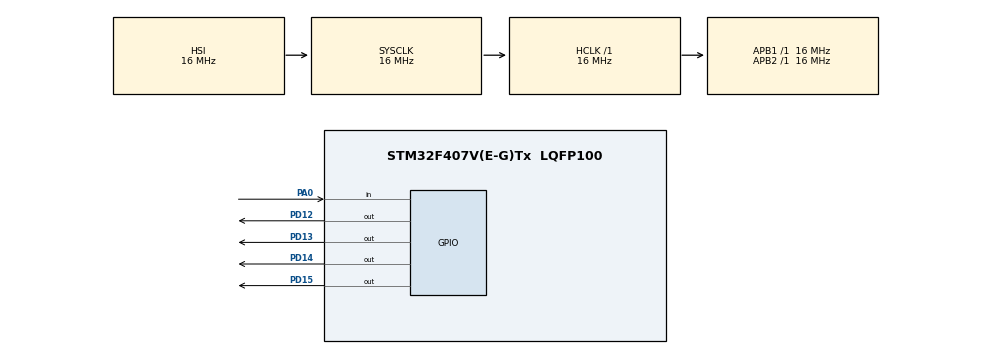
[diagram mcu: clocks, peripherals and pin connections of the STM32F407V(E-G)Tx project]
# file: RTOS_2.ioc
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Mcu.Family=STM32F4
Mcu.Name=STM32F407V(E-G)Tx
Mcu.Package=LQFP100
NVIC.PriorityGroup=NVIC_PRIORITYGROUP_4
NVIC.TIM1_UP_TIM10_IRQn=true\:15\:0\:false\:false\:true\:false\:true\:true
NVIC.TimeBase=TIM1_UP_TIM10_IRQn
NVIC.TimeBaseIP=TIM1
PA0-WKUP.Signal=GPIO_Input
PD12.Signal=GPIO_Output
PD13.Signal=GPIO_Output
PD14.Signal=GPIO_Output
PD15.Signal=GPIO_Output
ProjectManager.HeapSize=0x200
ProjectManager.StackSize=0x400
ProjectManager.TargetToolchain=STM32CubeIDE
RCC.AHBFreq_Value=16000000
RCC.APB1Freq_Value=16000000
RCC.APB2Freq_Value=16000000
RCC.CortexFreq_Value=16000000
RCC.HSE_VALUE=25000000
RCC.HSI_VALUE=16000000
RCC.LSE_VALUE=32768
RCC.SYSCLKFreq_VALUE=16000000
RCC.VCOOutputFreq_Value=192000000
VP_SYS_VS_tim1.Mode=TIM1
board=custom

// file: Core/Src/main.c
/* USER CODE BEGIN Header */
/**
  ******************************************************************************
  * @file           : main.c
  * @brief          : Main program body
  ******************************************************************************
  * @attention
  *
  * Copyright (c) 2026 STMicroelectronics.
  * All rights reserved.
  *
  * This software is licensed under terms that can be found in the LICENSE file
  * in the root directory of this software component.
  * If no LICENSE file comes with this software, it is provided AS-IS.
  *
  ******************************************************************************
  */
/* USER CODE END Header */
#include "main.h"

/* USER CODE BEGIN Includes */
#include "FreeRTOS.h"
#include "task.h"
#include "timers.h"
#include "queue.h"
#include "semphr.h"
#include "event_groups.h"
#include "SEGGER_SYSVIEW.h"
#include "Disc_F407.h"
/* USER CODE END Includes */

void SystemClock_Config(void);
static void MX_GPIO_Init(void);

/* USER CODE BEGIN 0 */
#define STACK_SIZE 128

void GreenTaskA( void * argument);
void BlueTaskB( void* argumet );

volatile uint32_t flag = 0;
/* USER CODE END 0 */

int main(void)
{

  /* MCU Configuration--------------------------------------------------------*/

  /* Reset of all peripherals, Initializes the Flash interface and the Systick. */
  HAL_Init();

  /* Configure the system clock */
  SystemClock_Config();

  /* Initialize all configured peripherals */
  MX_GPIO_Init();
  /* USER CODE BEGIN 2 */
  SEGGER_SYSVIEW_Conf();
  	HAL_NVIC_SetPriorityGrouping(NVIC_PRIORITYGROUP_4);	//ensure proper priority grouping for freeRTOS

  	//create TaskA as a higher priority than TaskB.  In this example, this isn't strictly necessary since the tasks
  	//spend nearly all of their time blocked
  	assert_param(xTaskCreate(GreenTaskA, "GreenTaskA", STACK_SIZE, NULL, tskIDLE_PRIORITY + 2, NULL) == pdPASS);

  	//using an assert to ensure proper task creation
  	assert_param(xTaskCreate(BlueTaskB, "BlueTaskB", STACK_SIZE, NULL, tskIDLE_PRIORITY + 1, NULL) == pdPASS);

  	//start the scheduler - shouldn't return unless there's a problem
  	vTaskStartScheduler();

  	//if you've wound up here, there is likely an issue with overrunning the freeRTOS heap
  /* USER CODE END 2 */

  /* Infinite loop */
  while (1)
  {

  }
}

void SystemClock_Config(void)
{
  RCC_OscInitTypeDef RCC_OscInitStruct = {0};
  RCC_ClkInitTypeDef RCC_ClkInitStruct = {0};

  /** Configure the main internal regulator output voltage
  */
  __HAL_RCC_PWR_CLK_ENABLE();
  __HAL_PWR_VOLTAGESCALING_CONFIG(PWR_REGULATOR_VOLTAGE_SCALE1);

  /** Initializes the RCC Oscillators according to the specified parameters
  * in the RCC_OscInitTypeDef structure.
  */
  RCC_OscInitStruct.OscillatorType = RCC_OSCILLATORTYPE_HSI;
  RCC_OscInitStruct.HSIState = RCC_HSI_ON;
  RCC_OscInitStruct.HSICalibrationValue = RCC_HSICALIBRATION_DEFAULT;
  RCC_OscInitStruct.PLL.PLLState = RCC_PLL_NONE;
  if (HAL_RCC_OscConfig(&RCC_OscInitStruct) != HAL_OK)
  {
    Error_Handler();
  }

  /** Initializes the CPU, AHB and APB buses clocks
  */
  RCC_ClkInitStruct.ClockType = RCC_CLOCKTYPE_HCLK|RCC_CLOCKTYPE_SYSCLK
                              |RCC_CLOCKTYPE_PCLK1|RCC_CLOCKTYPE_PCLK2;
  RCC_ClkInitStruct.SYSCLKSource = RCC_SYSCLKSOURCE_HSI;
  RCC_ClkInitStruct.AHBCLKDivider = RCC_SYSCLK_DIV1;
  RCC_ClkInitStruct.APB1CLKDivider = RCC_HCLK_DIV1;
  RCC_ClkInitStruct.APB2CLKDivider = RCC_HCLK_DIV1;

  if (HAL_RCC_ClockConfig(&RCC_ClkInitStruct, FLASH_LATENCY_0) != HAL_OK)
  {
    Error_Handler();
  }
}

static void MX_GPIO_Init(void)
{
  GPIO_InitTypeDef GPIO_InitStruct = {0};

  /* GPIO Ports Clock Enable */
  __HAL_RCC_GPIOA_CLK_ENABLE();
  __HAL_RCC_GPIOD_CLK_ENABLE();

  /*Configure GPIO pin Output Level */
  HAL_GPIO_WritePin(GPIOD, GPIO_PIN_12|GPIO_PIN_13|GPIO_PIN_14|GPIO_PIN_15, GPIO_PIN_RESET);

  /*Configure GPIO pin : PA0 */
  GPIO_InitStruct.Pin = GPIO_PIN_0;
  GPIO_InitStruct.Mode = GPIO_MODE_INPUT;
  GPIO_InitStruct.Pull = GPIO_NOPULL;
  HAL_GPIO_Init(GPIOA, &GPIO_InitStruct);

  /*Configure GPIO pins : PD12 PD13 PD14 PD15 */
  GPIO_InitStruct.Pin = GPIO_PIN_12|GPIO_PIN_13|GPIO_PIN_14|GPIO_PIN_15;
  GPIO_InitStruct.Mode = GPIO_MODE_OUTPUT_PP;
  GPIO_InitStruct.Pull = GPIO_NOPULL;
  GPIO_InitStruct.Speed = GPIO_SPEED_FREQ_LOW;
  HAL_GPIO_Init(GPIOD, &GPIO_InitStruct);

}

/* USER CODE BEGIN 4 */
/**
 * Task A periodically sets 'flag' to 1, which signals taskB  to run
 *
 */
void GreenTaskA( void* argument )
{
	uint_fast8_t count = 0;
	while(1)
	{
		//every 5 times through the loop, set the flag
		if(++count >= 5)
		{
			count = 0;
			SEGGER_SYSVIEW_PrintfHost("Task A (green LED) sets flag");
			flag = 1;	//set 'flag' to 1 to "signal" BlueTaskB to run
		}
		GreenLed.On();
		vTaskDelay(100/portTICK_PERIOD_MS);
		GreenLed.Off();
		vTaskDelay(100/portTICK_PERIOD_MS);
	}
}

/**
 * wait until flag != 0 then triple blink the Blue LED
 */
void BlueTaskB( void* argument )
{
	while(1)
	{
	    SEGGER_SYSVIEW_PrintfHost("Task B (Blue LED) starts "\
	    		                   "polling on flag");

		//repeateadly poll on flag.  As soon as it is non-zero,
		//blink the blue LED 3 times
	    while(!flag){};

		SEGGER_SYSVIEW_PrintfHost("Task B (Blue LED) received flag");
		flag = 0;
		//triple blink the Blue LED
		for(uint_fast8_t i = 0; i < 3; i++)
		{
			BlueLed.On();
			vTaskDelay(50/portTICK_PERIOD_MS);
			BlueLed.Off();
			vTaskDelay(50/portTICK_PERIOD_MS);
		}
	}
}

/* USER CODE END 4 */

void HAL_TIM_PeriodElapsedCallback(TIM_HandleTypeDef *htim)
{
  if (htim->Instance == TIM1)
  {
    HAL_IncTick();
  }
}

void Error_Handler(void)
{
  __disable_irq();
  while (1)
  {
  }
}

#ifdef  USE_FULL_ASSERT
/**
  * @brief  Reports the name of the source file and the source line number
  *         where the assert_param error has occurred.
  * @param  file: pointer to the source file name
  * @param  line: assert_param error line source number
  * @retval None
  */
void assert_failed(uint8_t *file, uint32_t line)
{
  /* USER CODE BEGIN 6 */
	SEGGER_SYSVIEW_PrintfHost("Assertion Failed:file %s on line %d\r\n", file, line);
	  while(1);
  /* User can add his own implementation to report the file name and line number,
     ex: printf("Wrong parameters value: file %s on line %d\r\n", file, line) */
  /* USER CODE END 6 */
}
#endif /* USE_FULL_ASSERT */
